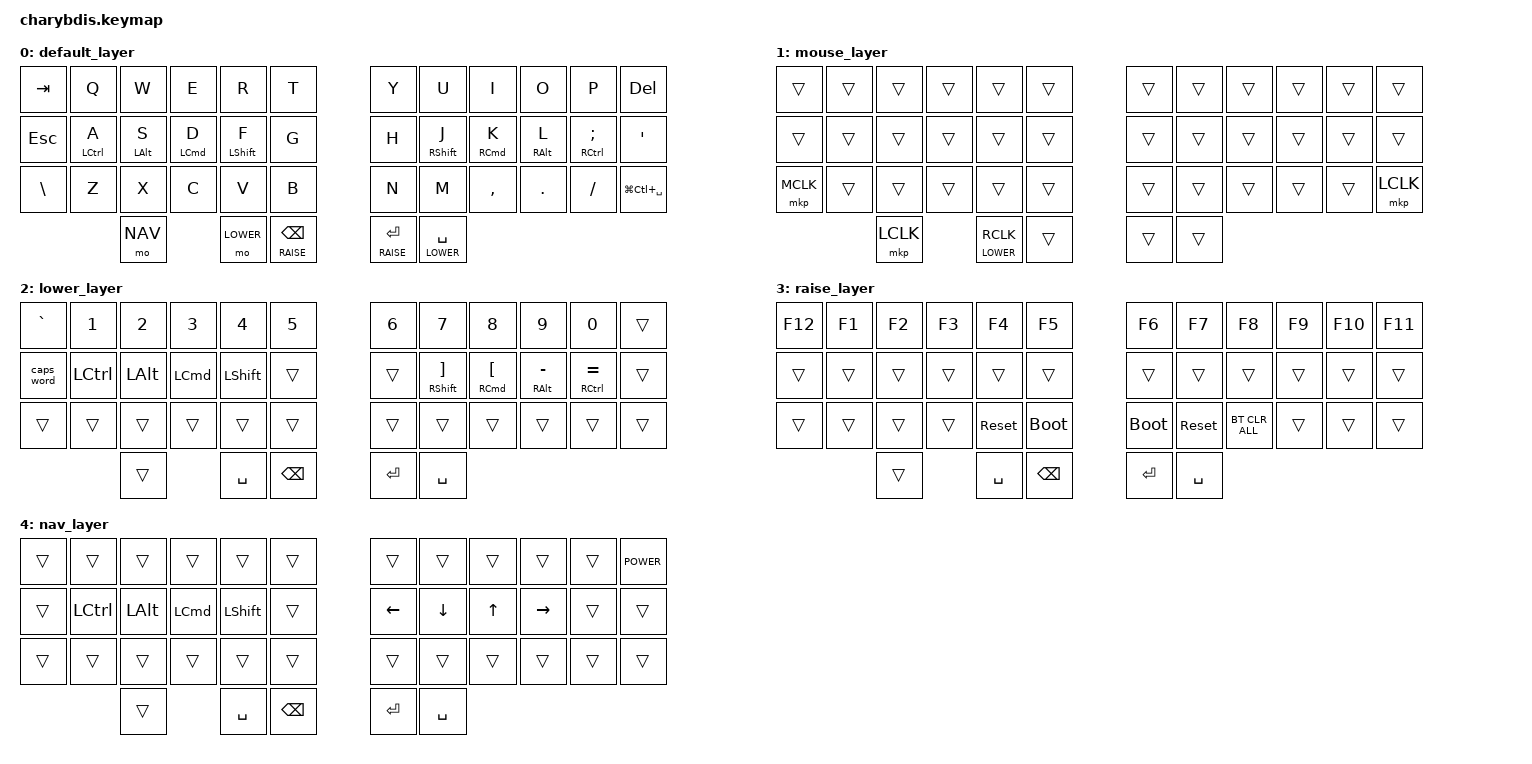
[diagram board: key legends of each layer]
#include <behaviors.dtsi>
#include <dt-bindings/zmk/mouse.h>
#include <dt-bindings/zmk/keys.h>
#include <dt-bindings/zmk/bt.h>
#include <dt-bindings/zmk/outputs.h>
#include <dt-bindings/zmk/keys.h>

#define DEFAULT 0
#define MOUSE   1
#define LOWER   2
#define RAISE   3
#define NAV     4

// todo: make dongle work.
// https://github.com/zmkfirmware/zmk/tree/main/app/boards/shields/corne
// https://github.com/aroum/zmk-enki42

&lt {
    quick-tap-ms = <200>;
    flavor = "balanced";
};

&caps_word {
    continue-list = <UNDERSCORE MINUS>;
};

/ {
      behaviors {
        hm: hold_preferred_homerow_mods {
            compatible = "zmk,behavior-hold-tap";
            #binding-cells = <2>;
            tapping-term-ms = <150>;
            quick-tap-ms = <200>;
            require-prior-idle-ms = <125>;
            flavor = "hold-preferred";
            bindings = <&kp>, <&kp>;
        };
        tm: tap_preferred_homerow_mods {
            compatible = "zmk,behavior-hold-tap";
            #binding-cells = <2>;
            tapping-term-ms = <150>;
            quick-tap-ms = <200>;
            require-prior-idle-ms = <125>;
            flavor = "tap-preferred";
            bindings = <&kp>, <&kp>;
        };
        mlt: mouse_lt {
            compatible = "zmk,behavior-hold-tap";
            #binding-cells = <2>;
            tapping-term-ms = <200>;
            flavor = "tap-preferred";
            bindings = <&mo>, <&mkp>;
        };
    };
        keymap {
                compatible = "zmk,keymap";
                default_layer {
                        bindings = <
//,----------------------------------------------------------------------.            ,---------------------------------------------------------------------------------.
    &kp TAB         &kp Q       &kp W        &kp E         &kp R   &kp T               &kp Y       &kp U          &kp I       &kp O           &kp P             &kp DEL
//|---------+-------------+-----------+------------+-------------+-------|            |------+-------------+------------+-----------+---------------+-------------------|
    &kp ESC   &tm LCTRL A   &tm LALT S  &tm LCMD D   &hm LSHFT F   &kp G               &kp H   &hm RSHFT J   &tm RCMD K   &tm RALT L  &tm RCTL SEMI             &kp SQT
//|---------+-------------+-----------+------------+-------------+-------|            |------+-------------+------------+-----------+---------------+-------------------|
   &kp BSLH         &kp Z       &kp X        &kp C         &kp V   &kp B               &kp N       &kp M      &kp COMMA     &kp DOT        &kp FSLH   &kp LG(LC(SPACE))
//|---------+-------------+-----------+------------+-------------+-------+----|  |----+------+-------------+------------+-----------+---------------+-------------------|
                                          &mo NAV   &mo LOWER   &lt RAISE BSPC     &lt RAISE RET   &lt LOWER SPACE
                                       //`--------+-----------+---------------'  `---------------+----------------'
                        >;
                };
                mouse_layer {
                        bindings = <
//,-------------------------------------------------------.            ,------------------------------------------------------.
    &trans      &trans   &trans   &trans   &trans   &trans              &trans   &trans   &trans   &trans   &trans   &trans
//|-----------+--------+--------+--------+--------+-------|            |-------+--------+--------+--------+--------+----------|
    &trans      &trans   &trans   &trans   &trans   &trans              &trans   &trans   &trans   &trans   &trans   &trans
//|-----------+--------+--------+--------+--------+-------|            |-------+--------+--------+--------+--------+----------|
    &mkp MCLK   &trans   &trans   &trans   &trans   &trans              &trans   &trans   &trans   &trans   &trans   &mkp LCLK
//|-----------+--------+--------+--------+--------+-------+----|  |----+-------+--------+--------+--------+--------+----------|
                           &mkp LCLK   &mlt LOWER RCLK   &trans    &trans   &trans
                        //`----------+-----------------+-------'  `-------+-------'
                        >;
                };
                lower_layer {
                        bindings = <
//,------------------------------------------------------------.            ,---------------------------------------------------------------------------------.
   &kp GRAVE   &kp N1    &kp N2     &kp N3      &kp N4   &kp N5              &kp N6           &kp N7          &kp N8          &kp N9           &kp N0   &trans
//|-------+-----------+---------+----------+-----------+-------|            |------+-----------------+---------------+---------------+----------------+-------|
   &caps_word  &kp LCTRL   &kp LALT  &kp LCMD   &kp LSHFT   &trans              &trans   &hm RSHFT RBKT   &hm RCMD LBKT   &hm RALT MINUS  &hm RCTL EQUAL   &trans
//|-------+-----------+---------+----------+-----------+-------|            |------+-----------------+---------------+---------------+----------------+-------|
   &trans      &trans    &trans     &trans      &trans   &trans              &trans           &trans          &trans          &trans           &trans   &trans
//|-------+-----------+---------+----------+-----------+-------+----|  |----+------+-----------------+---------------+---------------+----------------+-------|
                                       &trans   &kp SPACE   &kp BSPC    &kp RET   &kp SPACE
                                    //`-------+-----------+---------'  `--------+----------'
                        >;
                };
                raise_layer {
                        bindings = <
//,-------------------------------------------------------------.            ,----------------------------------------------------------------------.
   &kp F12   &kp F1   &kp F2   &kp F3       &kp F4   &kp F5                        &kp F6       &kp F7           &kp F8   &kp F9   &kp F10   &kp F11
//|--------+--------+--------+--------+------------+------------|            |------------+------------+----------------+--------+---------+--------|
    &trans   &trans   &trans   &trans       &trans   &trans                        &trans       &trans           &trans   &trans    &trans   &trans
//|--------+--------+--------+--------+------------+------------|            |------------+------------+----------------+--------+---------+--------|
    &trans   &trans   &trans   &trans   &sys_reset   &bootloader              &bootloader   &sys_reset   &bt BT_CLR_ALL   &trans    &trans   &trans
//|--------+--------+--------+--------+------------+------------+----|  |----+------------+------------+----------------+--------+---------+--------|
                                    &trans   &kp SPACE   &kp BSPC    &kp RET   &kp SPACE
                                 //`-------+-----------+---------'  `--------+----------'
                        >;
                };
                nav_layer {
                        bindings = <
//,--------------------------------------------------------------.            ,---------------------------------------------------------------.
    &trans   &trans      &trans       &trans      &trans   &trans                &trans     &trans   &trans      &trans   &trans   &kp C_POWER
//|--------+-----------+----------+----------+-----------+-------|            |---------+----------+--------+-----------+--------+------------|
    &trans   &kp LCTRL   &kp LALT   &kp LCMD   &kp LSHFT   &trans              &kp LEFT   &kp DOWN   &kp UP   &kp RIGHT   &trans   &trans
//|--------+-----------+----------+----------+-----------+-------|            |---------+----------+--------+-----------+--------+------------|
    &trans   &trans      &trans       &trans      &trans   &trans                &trans     &trans   &trans      &trans   &trans   &trans
//|--------+-----------+----------+----------+-----------+-------+----|  |----+---------+----------+--------+-----------+--------+------------|
                                            &trans   &kp SPACE   &kp BSPC    &kp RET   &kp SPACE
                                         //`-------+-----------+---------'  `--------+----------'
                        >;
                };
        };
};
